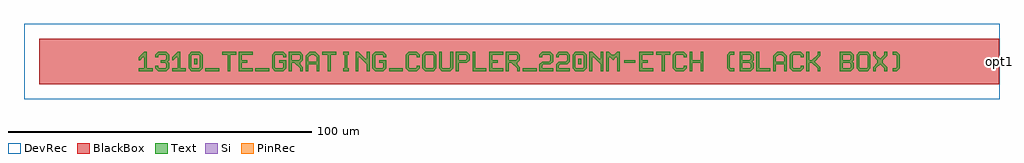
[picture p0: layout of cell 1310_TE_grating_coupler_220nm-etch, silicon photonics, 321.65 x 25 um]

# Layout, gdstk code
import gdstk
lib = gdstk.Library(unit=1e-6, precision=1e-09)
def R(c, l, rs):  # rectangles x0, y0, x1, y1
    for r in rs: c.add(gdstk.rectangle(r[:2], r[2:], *l))
def A(c, l, x, y, w, h, nx, ny, dx, dy):  # array of equal rectangles
    R(c, l, [(x+i*dx, y+j*dy, x+i*dx+w, y+j*dy+h) for i in range(nx) for j in range(ny)])
def P(c, l, *ps):  # polygons
    for p in ps: c.add(gdstk.Polygon(p, *l))
Si = (1, 0)
PinRec = (1, 10)
Text = (10, 0)
DevRec = (68, 0)
BlackBox = (998, 0)

text = lib.new_cell('TEXT')
A(text, Text, 38.514, 0, 4.585, 0.917, 3, 1, 44.016, 0)
R(text, Text, [(22.008,0,26.593,0.917), (18.34,2.292,19.257,4.126), (144.886,2.292,145.803,4.126), (160.016,2.751,163.684,3.668)])
P(text, Text, [(0,0),(0,0.917),(1.834,0.917),(1.834,4.585),(1.375,4.585),(0.458,3.668),(0,3.668),(0,4.585),(1.834,6.419),(2.751,6.419),(2.751,0.917),(4.585,0.917),(4.585,0)],
  [(6.419,0),(5.502,0.917),(5.502,1.834),(6.419,1.834),(6.419,1.375),(6.877,0.917),(8.711,0.917),(9.17,1.375),(9.17,2.292),(8.711,2.751),(7.336,2.751),(7.336,3.668),(8.711,3.668),(9.17,4.126),(9.17,5.043),(8.711,5.502),(6.877,5.502),(6.419,5.043),(6.419,4.585),(5.502,4.585),(5.502,5.502),(6.419,6.419),(9.17,6.419),(10.087,5.502),(10.087,3.668),(9.628,3.209),(10.087,2.751),(10.087,0.917),(9.17,0)],
  [(11.004,0),(11.004,0.917),(12.838,0.917),(12.838,4.585),(12.379,4.585),(11.462,3.668),(11.004,3.668),(11.004,4.585),(12.838,6.419),(13.755,6.419),(13.755,0.917),(15.589,0.917),(15.589,0)],
  [(17.423,0),(16.506,0.917),(16.506,5.502),(17.423,6.419),(20.174,6.419),(21.091,5.502),(17.881,5.502),(17.423,5.043),(17.423,1.375),(17.881,0.917),(19.715,0.917),(20.174,1.375),(20.174,5.043),(19.715,5.502),(21.091,5.502),(21.091,0.917),(20.174,0)],
  [(29.344,0),(29.344,5.502),(27.51,5.502),(27.51,6.419),(32.095,6.419),(32.095,5.502),(30.261,5.502),(30.261,0)],
  [(33.012,0),(33.012,6.419),(37.597,6.419),(37.597,5.502),(33.929,5.502),(33.929,3.668),(35.763,3.668),(35.763,2.751),(33.929,2.751),(33.929,0.917),(37.597,0.917),(37.597,0)],
  [(44.933,0),(44.016,0.917),(44.016,5.502),(44.933,6.419),(47.684,6.419),(48.601,5.502),(48.601,4.585),(47.684,4.585),(47.684,5.043),(47.225,5.502),(45.391,5.502),(44.933,5.043),(44.933,1.375),(45.391,0.917),(47.225,0.917),(47.684,1.375),(47.684,2.751),(46.308,2.751),(46.308,3.668),(48.601,3.668),(48.601,0.917),(47.684,0)],
  [(49.518,0),(49.518,6.419),(53.186,6.419),(54.103,5.502),(50.435,5.502),(50.435,3.668),(52.727,3.668),(53.186,4.126),(53.186,5.043),(52.727,5.502),(54.103,5.502),(54.103,3.668),(53.186,2.751),(53.186,2.292),(54.103,1.375),(54.103,0),(53.186,0),(53.186,0.917),(51.352,2.751),(50.435,2.751),(50.435,0)],
  [(55.02,0),(55.02,5.043),(56.395,6.419),(58.229,6.419),(59.146,5.502),(56.854,5.502),(55.937,4.585),(55.937,3.209),(58.688,3.209),(58.688,4.585),(57.771,5.502),(59.146,5.502),(59.605,5.043),(59.605,0),(58.688,0),(58.688,2.292),(55.937,2.292),(55.937,0)],
  [(62.356,0),(62.356,5.502),(60.522,5.502),(60.522,6.419),(65.107,6.419),(65.107,5.502),(63.273,5.502),(63.273,0)],
  [(67.399,0),(67.399,0.917),(67.858,0.917),(67.858,5.502),(67.399,5.502),(67.399,6.419),(69.233,6.419),(69.233,5.502),(68.775,5.502),(68.775,0.917),(69.233,0.917),(69.233,0)],
  [(71.526,0),(71.526,6.419),(72.443,6.419),(74.735,4.126),(75.194,4.126),(75.194,6.419),(76.111,6.419),(76.111,0),(75.194,0),(75.194,2.292),(72.901,4.585),(72.443,4.585),(72.443,0)],
  [(77.945,0),(77.028,0.917),(77.028,5.502),(77.945,6.419),(80.696,6.419),(81.613,5.502),(81.613,4.585),(80.696,4.585),(80.696,5.043),(80.237,5.502),(78.403,5.502),(77.945,5.043),(77.945,1.375),(78.403,0.917),(80.237,0.917),(80.696,1.375),(80.696,2.751),(79.32,2.751),(79.32,3.668),(81.613,3.668),(81.613,0.917),(80.696,0)],
  [(88.949,0),(88.032,0.917),(88.032,5.502),(88.949,6.419),(91.7,6.419),(92.617,5.502),(92.617,4.585),(91.7,4.585),(91.7,5.043),(91.241,5.502),(89.407,5.502),(88.949,5.043),(88.949,1.375),(89.407,0.917),(91.241,0.917),(91.7,1.375),(91.7,1.834),(92.617,1.834),(92.617,0.917),(91.7,0)],
  [(94.451,0),(93.534,0.917),(93.534,5.502),(94.451,6.419),(97.202,6.419),(98.119,5.502),(98.119,3.209),(97.202,3.209),(97.202,5.043),(96.743,5.502),(94.909,5.502),(94.451,5.043),(94.451,1.375),(94.909,0.917),(96.743,0.917),(97.202,1.375),(97.202,3.209),(98.119,3.209),(98.119,0.917),(97.202,0)],
  [(99.953,0),(99.036,0.917),(99.036,6.419),(99.953,6.419),(99.953,1.375),(100.411,0.917),(102.245,0.917),(102.704,1.375),(102.704,6.419),(103.621,6.419),(103.621,0.917),(102.704,0)],
  [(104.538,0),(104.538,6.419),(108.206,6.419),(109.123,5.502),(109.123,3.668),(108.206,2.751),(105.455,2.751),(105.455,3.668),(107.747,3.668),(108.206,4.126),(108.206,5.043),(107.747,5.502),(105.455,5.502),(105.455,0)],
  [(110.04,0),(110.04,6.419),(110.957,6.419),(110.957,0.917),(114.625,0.917),(114.625,0)],
  [(115.542,0),(115.542,6.419),(120.127,6.419),(120.127,5.502),(116.459,5.502),(116.459,3.668),(118.293,3.668),(118.293,2.751),(116.459,2.751),(116.459,0.917),(120.127,0.917),(120.127,0)],
  [(121.044,0),(121.044,6.419),(124.712,6.419),(125.629,5.502),(121.961,5.502),(121.961,3.668),(124.253,3.668),(124.712,4.126),(124.712,5.043),(124.253,5.502),(125.629,5.502),(125.629,3.668),(124.712,2.751),(124.712,2.292),(125.629,1.375),(125.629,0),(124.712,0),(124.712,0.917),(122.878,2.751),(121.961,2.751),(121.961,0)],
  [(132.048,0),(132.048,2.292),(132.965,3.209),(135.257,3.209),(135.716,3.668),(135.716,5.043),(135.257,5.502),(133.423,5.502),(132.965,5.043),(132.965,4.585),(132.048,4.585),(132.048,5.502),(132.965,6.419),(135.716,6.419),(136.633,5.502),(136.633,3.209),(135.716,2.292),(133.423,2.292),(132.965,1.834),(132.965,0.917),(136.633,0.917),(136.633,0)],
  [(137.55,0),(137.55,2.292),(138.467,3.209),(140.759,3.209),(141.218,3.668),(141.218,5.043),(140.759,5.502),(138.925,5.502),(138.467,5.043),(138.467,4.585),(137.55,4.585),(137.55,5.502),(138.467,6.419),(141.218,6.419),(142.135,5.502),(142.135,3.209),(141.218,2.292),(138.925,2.292),(138.467,1.834),(138.467,0.917),(142.135,0.917),(142.135,0)],
  [(143.969,0),(143.052,0.917),(143.052,5.502),(143.969,6.419),(146.72,6.419),(147.637,5.502),(144.427,5.502),(143.969,5.043),(143.969,1.375),(144.427,0.917),(146.261,0.917),(146.72,1.375),(146.72,5.043),(146.261,5.502),(147.637,5.502),(147.637,0.917),(146.72,0)],
  [(148.554,0),(148.554,6.419),(149.471,6.419),(151.763,4.126),(152.222,4.126),(152.222,6.419),(153.139,6.419),(153.139,0),(152.222,0),(152.222,2.292),(149.929,4.585),(149.471,4.585),(149.471,0)],
  [(154.056,0),(154.056,6.419),(154.973,6.419),(155.89,5.502),(156.807,5.502),(157.724,6.419),(158.641,6.419),(158.641,0),(157.724,0),(157.724,4.585),(157.265,4.585),(156.348,3.668),(155.431,4.585),(154.973,4.585),(154.973,0)],
  [(165.06,0),(165.06,6.419),(169.645,6.419),(169.645,5.502),(165.977,5.502),(165.977,3.668),(167.811,3.668),(167.811,2.751),(165.977,2.751),(165.977,0.917),(169.645,0.917),(169.645,0)],
  [(172.396,0),(172.396,5.502),(170.562,5.502),(170.562,6.419),(175.147,6.419),(175.147,5.502),(173.313,5.502),(173.313,0)],
  [(176.981,0),(176.064,0.917),(176.064,5.502),(176.981,6.419),(179.732,6.419),(180.649,5.502),(180.649,4.585),(179.732,4.585),(179.732,5.043),(179.273,5.502),(177.439,5.502),(176.981,5.043),(176.981,1.375),(177.439,0.917),(179.273,0.917),(179.732,1.375),(179.732,1.834),(180.649,1.834),(180.649,0.917),(179.732,0)],
  [(181.566,0),(181.566,6.419),(182.483,6.419),(182.483,3.668),(185.234,3.668),(185.234,6.419),(186.151,6.419),(186.151,0),(185.234,0),(185.234,2.751),(182.483,2.751),(182.483,0)],
  [(194.862,0),(193.945,0.917),(193.945,5.502),(194.862,6.419),(196.238,6.419),(196.238,5.502),(195.321,5.502),(194.862,5.043),(194.862,1.375),(195.321,0.917),(196.238,0.917),(196.238,0)],
  [(198.072,0),(198.072,6.419),(201.74,6.419),(202.657,5.502),(198.989,5.502),(198.989,3.668),(201.281,3.668),(201.74,4.126),(201.74,5.043),(201.281,5.502),(202.657,5.502),(202.657,3.668),(202.198,3.209),(202.657,2.751),(198.989,2.751),(198.989,0.917),(201.281,0.917),(201.74,1.375),(201.74,2.292),(201.281,2.751),(202.657,2.751),(202.657,0.917),(201.74,0)],
  [(203.574,0),(203.574,6.419),(204.491,6.419),(204.491,0.917),(208.159,0.917),(208.159,0)],
  [(209.076,0),(209.076,5.043),(210.451,6.419),(212.285,6.419),(213.202,5.502),(210.91,5.502),(209.993,4.585),(209.993,3.209),(212.744,3.209),(212.744,4.585),(211.827,5.502),(213.202,5.502),(213.661,5.043),(213.661,0),(212.744,0),(212.744,2.292),(209.993,2.292),(209.993,0)],
  [(215.495,0),(214.578,0.917),(214.578,5.502),(215.495,6.419),(218.246,6.419),(219.163,5.502),(219.163,4.585),(218.246,4.585),(218.246,5.043),(217.787,5.502),(215.953,5.502),(215.495,5.043),(215.495,1.375),(215.953,0.917),(217.787,0.917),(218.246,1.375),(218.246,1.834),(219.163,1.834),(219.163,0.917),(218.246,0)],
  [(220.08,0),(220.08,6.419),(220.997,6.419),(220.997,3.668),(221.914,3.668),(223.748,5.502),(223.748,6.419),(224.665,6.419),(224.665,5.043),(222.831,3.209),(224.665,1.375),(224.665,0),(223.748,0),(223.748,0.917),(221.914,2.751),(220.997,2.751),(220.997,0)],
  [(231.084,0),(231.084,6.419),(234.752,6.419),(235.669,5.502),(232.001,5.502),(232.001,3.668),(234.293,3.668),(234.752,4.126),(234.752,5.043),(234.293,5.502),(235.669,5.502),(235.669,3.668),(235.21,3.209),(235.669,2.751),(232.001,2.751),(232.001,0.917),(234.293,0.917),(234.752,1.375),(234.752,2.292),(234.293,2.751),(235.669,2.751),(235.669,0.917),(234.752,0)],
  [(237.503,0),(236.586,0.917),(236.586,5.502),(237.503,6.419),(240.254,6.419),(241.171,5.502),(241.171,3.209),(240.254,3.209),(240.254,5.043),(239.795,5.502),(237.961,5.502),(237.503,5.043),(237.503,1.375),(237.961,0.917),(239.795,0.917),(240.254,1.375),(240.254,3.209),(241.171,3.209),(241.171,0.917),(240.254,0)],
  [(242.088,0),(242.088,1.375),(243.463,2.751),(243.463,3.668),(242.088,5.043),(242.088,6.419),(243.005,6.419),(243.005,5.502),(244.38,4.126),(245.756,5.502),(245.756,6.419),(246.673,6.419),(246.673,5.043),(245.297,3.668),(245.297,2.751),(246.673,1.375),(246.673,0),(245.756,0),(245.756,0.917),(244.38,2.292),(243.005,0.917),(243.005,0)],
  [(248.507,0),(248.507,0.917),(249.424,0.917),(249.882,1.375),(249.882,5.043),(249.424,5.502),(248.507,5.502),(248.507,6.419),(249.882,6.419),(250.799,5.502),(250.799,0.917),(249.882,0)])

c_1310_te_grating_coupler_ = lib.new_cell('1310_TE_grating_coupler_220nm-etch')
R(c_1310_te_grating_coupler_, Si, [(160.196,-0.253,160.396,0.097)])
R(c_1310_te_grating_coupler_, DevRec, [(-161.158,-12.578,160.396,12.422)])
R(c_1310_te_grating_coupler_, BlackBox, [(-156.158,-7.578,160.196,7.422)])
c_1310_te_grating_coupler_.add(gdstk.FlexPath([(160.296,-0.078),(160.496,-0.078)], 0.35, ends="flush", simple_path=True, layer=1, datatype=10))  # PinRec
c_1310_te_grating_coupler_.add(gdstk.Reference(text, (-123.38,-3.287)))
c_1310_te_grating_coupler_.add(gdstk.Label('opt1', (160.396,-0.078), layer=1, texttype=10))

lib.write_gds('1310_TE_grating_coupler_220nm-etch.gds')
